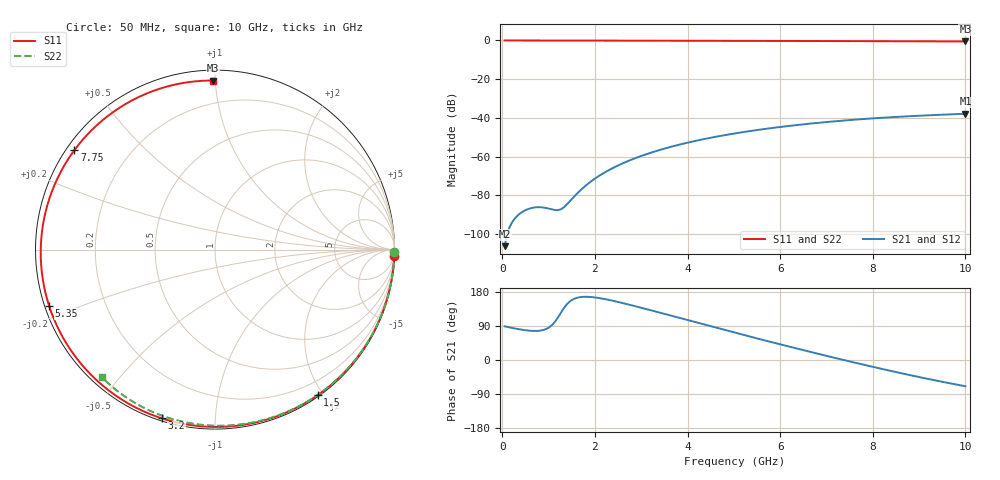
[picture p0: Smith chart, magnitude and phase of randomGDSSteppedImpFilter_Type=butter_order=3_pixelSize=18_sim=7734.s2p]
! freq	dB(S11)	phase(S11)	dB(S12)	phase(S12)
!  dB(S21)	phase(S21)	dB(S22)	phase(S22)
!S-par simulation data
#  GHz  S  DB  R 50
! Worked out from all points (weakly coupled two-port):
!   200 points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, 50 MHz to 10 GHz, reference 50 ohm
!   highest |S21| = -37.90 dB at 10 GHz (marker M1); lowest = -106.3 dB at 50 MHz (marker M2)
!   lowest |S11| = -0.5 dB at 10 GHz (marker M3), VSWR 33.47, Z = 2.95 + j49.3 ohm
!   |S11| at or under -10 dB: nowhere
!   |S22| runs from -0.4 to 0.0 dB; largest |S21 - S12| = 0
!   S11 on the Smith chart (normalised r, x): 50 MHz: 0, -60; 1.5 GHz: 0.02, -1.93; 3.2 GHz: 0.01, -0.73; 5.35 GHz: 0.01, -0.16; 7.75 GHz: 0.02, +0.32; 10 GHz: 0.06, +0.99
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0.05  -0.00 -1.9  -106.34 88.9  -106.34 88.9  -0.00 -0.8
0.35  -0.02 -13.2  -90.09 81.4  -90.09 81.4  -0.01 -5.3
0.7  -0.03 -26.2  -86.30 76.6  -86.30 76.6  -0.01 -10.6
1.1  -0.05 -40.7  -87.52 95.5  -87.52 95.5  -0.02 -16.6
1.5  -0.07 -54.8  -82.01 158.1  -82.01 158.1  -0.03 -22.5
1.6  -0.07 -58.2  -79.47 163.7  -79.47 163.7  -0.03 -24.0
1.75  -0.08 -63.2  -76.07 166.7  -76.07 166.7  -0.03 -26.2
2.05  -0.09 -73.1  -70.61 164.2  -70.61 164.2  -0.04 -30.6
2.35  -0.10 -82.6  -66.40 157.3  -66.40 157.3  -0.05 -35.0
2.75  -0.11 -94.6  -61.99 145.7  -61.99 145.7  -0.05 -40.7
3.2  -0.12 -107.5  -58.08 131.5  -58.08 131.5  -0.06 -47.1
3.4  -0.13 -113.0  -56.60 125.0  -56.60 125.0  -0.07 -49.9
4.25  -0.16 -135.1  -51.51 97.2  -51.51 97.2  -0.09 -61.6
5.05  -0.20 -154.4  -47.95 71.3  -47.95 71.3  -0.11 -72.3
5.35  -0.21 -161.3  -46.83 61.7  -46.83 61.7  -0.12 -76.2
6  -0.25 -176.1  -44.73 41.4  -44.73 41.4  -0.15 -84.5
6.7  -0.29 168.3  -42.86 20.0  -42.86 20.0  -0.18 -93.2
7.2  -0.32 157.2  -41.75 5.0  -41.75 5.0  -0.21 -99.2
7.75  -0.36 144.8  -40.70 -10.9  -40.70 -10.9  -0.24 -105.8
8.35  -0.40 130.9  -39.74 -27.8  -39.74 -27.8  -0.29 -112.8
9.2  -0.46 110.6  -38.68 -50.1  -38.68 -50.1  -0.36 -122.6
10  -0.52 90.7  -37.90 -69.2  -37.90 -69.2  -0.45 -131.6
